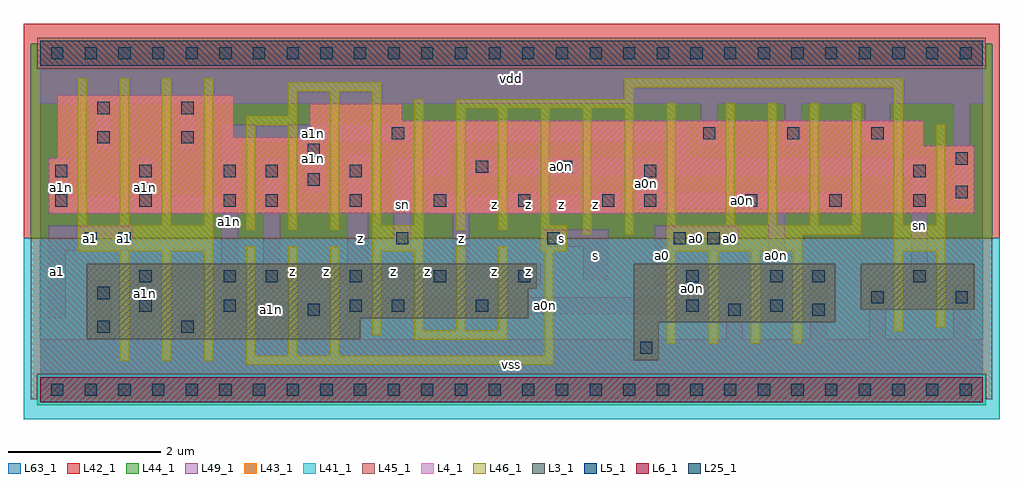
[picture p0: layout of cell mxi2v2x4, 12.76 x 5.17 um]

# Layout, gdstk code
import gdstk
lib = gdstk.Library(unit=1e-6, precision=1e-09)
def R(c, l, rs):  # rectangles x0, y0, x1, y1
    for r in rs: c.add(gdstk.rectangle(r[:2], r[2:], *l))
def A(c, l, x, y, w, h, nx, ny, dx, dy):  # array of equal rectangles
    R(c, l, [(x+i*dx, y+j*dy, x+i*dx+w, y+j*dy+h) for i in range(nx) for j in range(ny)])
L3_1 = (3, 1)
L4_1 = (4, 1)
L5_1 = (5, 1)
L6_1 = (6, 1)
L25_1 = (25, 1)
L41_1 = (41, 1)
L42_1 = (42, 1)
L43_1 = (43, 1)
L44_1 = (44, 1)
L45_1 = (45, 1)
L46_1 = (46, 1)
L49_1 = (49, 1)
L63_1 = (63, 1)

mxi2v2x4 = lib.new_cell('mxi2v2x4')
R(mxi2v2x4, L3_1, [(7.755,0.385,8.085,0.88), (0.605,0.66,4.18,0.935), (7.755,0.88,10.395,1.65), (0.605,0.935,6.38,1.32), (10.725,1.045,12.21,1.65), (0.605,1.32,6.49,1.65)])
R(mxi2v2x4, L4_1, [(0.11,2.31,12.21,3.025), (0.22,3.025,12.21,3.19), (0.22,3.19,11.55,3.3), (0.22,3.3,2.53,3.85), (3.52,3.3,11.55,3.52), (3.52,3.52,4.73,3.74)])
R(mxi2v2x4, L5_1, [(0,4.235,12.32,4.565)])
R(mxi2v2x4, L6_1, [(0,-0.165,12.32,0.165)])
A(mxi2v2x4, L25_1, 0.14, -0.08, 0.16, 0.16, 28, 2, 0.44, 4.4)
A(mxi2v2x4, L25_1, 2.945, 1.405, 0.16, 0.16, 4, 1, 1.1, 0)
A(mxi2v2x4, L25_1, 0.195, 2.395, 0.16, 0.16, 3, 2, 1.1, 0.385)
A(mxi2v2x4, L25_1, 2.945, 2.395, 0.16, 0.16, 5, 1, 1.1, 0)
A(mxi2v2x4, L25_1, 9.215, 2.395, 0.16, 0.16, 3, 1, 1.1, 0)
A(mxi2v2x4, L25_1, 8.665, 3.275, 0.16, 0.16, 3, 1, 1.1, 0)
R(mxi2v2x4, L25_1, [(7.84,0.47,8,0.63), (0.745,0.745,0.905,0.905), (1.845,0.745,2.005,0.905), (3.495,0.965,3.655,1.125), (8.995,0.965,9.155,1.125), (10.095,0.965,10.255,1.125), (1.295,1.02,1.455,1.18), (2.395,1.02,2.555,1.18), (4.045,1.02,4.205,1.18), (4.595,1.02,4.755,1.18), (5.695,1.02,5.855,1.18), (8.445,1.02,8.605,1.18), (9.545,1.02,9.705,1.18), (10.865,1.13,11.025,1.29), (11.965,1.13,12.125,1.29), (0.745,1.185,0.905,1.345), (1.295,1.405,1.455,1.565), (2.395,1.405,2.555,1.565), (8.445,1.405,8.605,1.565), (9.545,1.405,9.705,1.565), (10.095,1.405,10.255,1.565), (11.415,1.405,11.575,1.565), (0.58,1.9,0.74,2.06), (1.02,1.9,1.18,2.06), (4.65,1.9,4.81,2.06), (6.63,1.9,6.79,2.06), (8.28,1.9,8.44,2.06), (8.72,1.9,8.88,2.06), (7.895,2.395,8.055,2.555), (11.965,2.505,12.125,2.665), (3.495,2.67,3.655,2.83), (2.945,2.78,3.105,2.94), (4.045,2.78,4.205,2.94), (7.895,2.78,8.055,2.94), (11.415,2.78,11.575,2.94), (5.695,2.835,5.855,2.995), (6.795,2.835,6.955,2.995), (11.965,2.945,12.125,3.105), (3.495,3.055,3.655,3.215), (0.745,3.22,0.905,3.38), (1.845,3.22,2.005,3.38), (4.595,3.275,4.755,3.435), (0.745,3.605,0.905,3.765), (1.845,3.605,2.005,3.765)])
R(mxi2v2x4, L41_1, [(-0.22,-0.385,12.54,1.98)])
R(mxi2v2x4, L42_1, [(-0.22,1.98,12.54,4.785)])
R(mxi2v2x4, L43_1, [(0,-0.165,12.32,0.165), (7.755,0.385,8.085,0.88), (0.605,0.66,4.18,0.935), (7.755,0.88,10.395,1.65), (0.605,0.935,6.38,1.32), (10.725,1.045,12.21,1.65), (0.605,1.32,6.49,1.65), (0.11,2.31,12.21,3.025), (0.22,3.025,12.21,3.19), (0.22,3.19,11.55,3.3), (0.22,3.3,2.53,3.85), (3.52,3.3,11.55,3.52), (3.52,3.52,4.73,3.74), (0,4.235,12.32,4.565)])
R(mxi2v2x4, L44_1, [(-0.04,-0.205,12.36,0.205), (-0.125,1.98,12.445,4.195), (-0.125,4.195,-0.04,4.525), (12.36,4.195,12.445,4.525)])
R(mxi2v2x4, L45_1, [(-0.125,-0.125,-0.04,0.205), (12.36,-0.125,12.445,0.205), (-0.125,0.205,12.445,1.98), (-0.04,4.195,12.36,4.605)])
A(mxi2v2x4, L46_1, 1.04, 0.38, 0.12, 1.43, 3, 1, 0.55, 0)
A(mxi2v2x4, L46_1, 2.69, 0.445, 0.12, 1.43, 3, 1, 0.55, 0)
A(mxi2v2x4, L46_1, 8.19, 0.6, 0.12, 1.21, 4, 1, 0.55, 0)
A(mxi2v2x4, L46_1, 0.49, 2.15, 0.12, 1.925, 4, 1, 0.55, 0)
A(mxi2v2x4, L46_1, 8.96, 2.15, 0.12, 1.595, 4, 1, 0.55, 0)
R(mxi2v2x4, L46_1, [(2.69,0.325,6.715,0.445), (6.595,0.445,6.715,1.81), (4.89,0.655,6.11,0.775), (4.34,0.71,4.46,1.81), (11.16,0.765,11.28,1.81), (4.89,0.775,5.01,1.81), (5.44,0.775,5.56,1.875), (5.99,0.775,6.11,1.875), (11.71,0.82,11.83,1.81), (0.49,1.81,2.26,2.15), (4.34,1.81,5.01,2.15), (6.54,1.81,6.88,2.15), (8.19,1.81,9.96,2.03), (11.16,1.81,11.83,2.15), (7.09,2.03,7.21,3.68), (7.64,2.03,7.76,3.68), (8.19,2.03,10.73,2.15), (2.69,2.085,2.81,3.46), (3.24,2.085,3.36,3.46), (3.79,2.085,3.91,3.9), (5.44,2.085,5.56,3.68), (5.99,2.085,6.11,3.68), (4.34,2.15,4.46,3.9), (4.89,2.15,5.01,3.8), (6.54,2.15,6.66,3.68), (8.19,2.15,8.31,3.745), (11.16,2.15,11.28,3.955), (11.71,2.15,11.83,3.47), (2.69,3.46,3.36,3.58), (3.24,3.58,3.36,3.9), (5.44,3.68,7.76,3.8), (7.64,3.8,7.76,3.955), (3.24,3.9,4.46,4.02), (7.64,3.955,11.28,4.075)])
A(mxi2v2x4, L49_1, 5.06, 2.53, 0.33, 0.055, 3, 1, 1.1, 0)
R(mxi2v2x4, L49_1, [(0,-0.11,12.32,0.66), (0.715,0.66,0.935,1.43), (1.815,0.66,2.035,0.99), (8.965,0.66,9.185,1.21), (10.065,0.66,10.285,1.65), (10.835,0.66,11.055,1.375), (11.935,0.66,12.155,1.375), (0.11,0.935,0.33,1.815), (1.265,0.935,1.485,1.43), (2.365,0.935,3.74,1.155), (4.015,0.935,4.29,1.43), (9.515,0.935,9.735,1.43), (4.51,0.99,8.69,1.21), (2.365,1.155,2.585,1.43), (8.415,1.21,8.69,1.43), (2.915,1.32,3.135,1.43), (11.385,1.32,11.605,2.805), (5.06,1.375,5.39,1.43), (6.16,1.375,6.545,1.43), (8.03,1.375,8.25,1.815), (1.265,1.43,2.585,1.65), (2.915,1.43,6.545,1.65), (7.095,1.43,7.425,1.87), (8.415,1.43,9.735,1.65), (2.365,1.65,2.585,2.31), (2.915,1.65,3.135,3.025), (4.015,1.65,4.29,3.08), (5.39,1.65,5.61,2.31), (9.515,1.65,9.735,2.365), (0.11,1.815,1.21,2.145), (4.62,1.815,4.84,2.805), (8.03,1.815,9.13,2.145), (6.545,1.87,7.425,2.09), (0.165,2.31,2.585,2.53), (5.06,2.31,7.59,2.53), (7.81,2.365,10.56,2.585), (11.935,2.42,12.155,3.74), (0.165,2.53,0.385,3.025), (1.265,2.53,1.485,3.025), (2.365,2.53,2.585,3.245), (3.465,2.585,3.685,3.245), (7.81,2.585,8.085,2.805), (4.62,2.805,5.335,3.025), (5.61,2.805,8.085,3.025), (8.25,2.805,11.605,3.025), (5.115,3.025,5.335,3.245), (8.25,3.025,8.47,3.245), (0.715,3.135,0.935,3.74), (1.815,3.135,2.035,3.74), (8.635,3.19,8.855,3.74), (9.735,3.19,9.955,3.74), (2.365,3.245,4.84,3.465), (5.115,3.245,8.47,3.465), (10.78,3.245,11.11,3.74), (0,3.74,12.32,4.51)])
R(mxi2v2x4, L63_1, [(0,0,12.32,4.4)])
mxi2v2x4.add(gdstk.Label('a1', (0.22,1.54), layer=49, texttype=1))
mxi2v2x4.add(gdstk.Label('a1n', (1.375,1.265), layer=49, texttype=1))
mxi2v2x4.add(gdstk.Label('a1', (0.66,1.98), layer=49, texttype=1))
mxi2v2x4.add(gdstk.Label('a1', (1.1,1.98), layer=49, texttype=1))
mxi2v2x4.add(gdstk.Label('a1n', (0.275,2.64), layer=49, texttype=1))
mxi2v2x4.add(gdstk.Label('a1n', (1.375,2.64), layer=49, texttype=1))
mxi2v2x4.add(gdstk.Label('a1n', (3.025,1.045), layer=49, texttype=1))
mxi2v2x4.add(gdstk.Label('z', (3.74,1.54), layer=49, texttype=1))
mxi2v2x4.add(gdstk.Label('z', (3.3,1.54), layer=49, texttype=1))
mxi2v2x4.add(gdstk.Label('a1n', (3.575,3.025), layer=49, texttype=1))
mxi2v2x4.add(gdstk.Label('a1n', (2.475,2.2), layer=49, texttype=1))
mxi2v2x4.add(gdstk.Label('z', (4.62,1.54), layer=49, texttype=1))
mxi2v2x4.add(gdstk.Label('z', (5.06,1.54), layer=49, texttype=1))
mxi2v2x4.add(gdstk.Label('z', (5.94,1.54), layer=49, texttype=1))
mxi2v2x4.add(gdstk.Label('z', (4.18,1.98), layer=49, texttype=1))
mxi2v2x4.add(gdstk.Label('z', (5.5,1.98), layer=49, texttype=1))
mxi2v2x4.add(gdstk.Label('z', (5.94,2.42), layer=49, texttype=1))
mxi2v2x4.add(gdstk.Label('sn', (4.73,2.42), layer=49, texttype=1))
mxi2v2x4.add(gdstk.Label('a1n', (3.575,3.355), layer=49, texttype=1))
mxi2v2x4.add(gdstk.Label('vss', (6.16,0.33), layer=49, texttype=1))
mxi2v2x4.add(gdstk.Label('z', (6.38,1.54), layer=49, texttype=1))
mxi2v2x4.add(gdstk.Label('a0', (8.14,1.76), layer=49, texttype=1))
mxi2v2x4.add(gdstk.Label('s', (6.82,1.98), layer=49, texttype=1))
mxi2v2x4.add(gdstk.Label('s', (7.26,1.76), layer=49, texttype=1))
mxi2v2x4.add(gdstk.Label('z', (7.26,2.42), layer=49, texttype=1))
mxi2v2x4.add(gdstk.Label('z', (6.82,2.42), layer=49, texttype=1))
mxi2v2x4.add(gdstk.Label('z', (6.38,2.42), layer=49, texttype=1))
mxi2v2x4.add(gdstk.Label('a0n', (7.92,2.695), layer=49, texttype=1))
mxi2v2x4.add(gdstk.Label('a0n', (6.82,2.915), layer=49, texttype=1))
mxi2v2x4.add(gdstk.Label('vdd', (6.16,4.07), layer=49, texttype=1))
mxi2v2x4.add(gdstk.Label('a0n', (6.6,1.1), layer=49, texttype=1))
mxi2v2x4.add(gdstk.Label('a0n', (8.525,1.32), layer=49, texttype=1))
mxi2v2x4.add(gdstk.Label('a0', (9.02,1.98), layer=49, texttype=1))
mxi2v2x4.add(gdstk.Label('a0', (8.58,1.98), layer=49, texttype=1))
mxi2v2x4.add(gdstk.Label('a0n', (9.625,1.76), layer=49, texttype=1))
mxi2v2x4.add(gdstk.Label('a0n', (9.185,2.475), layer=49, texttype=1))
mxi2v2x4.add(gdstk.Label('sn', (11.495,2.145), layer=49, texttype=1))

lib.write_gds('mxi2v2x4.gds')
